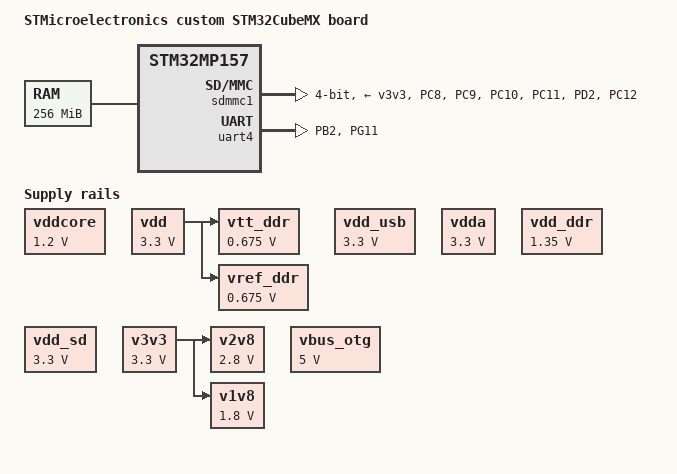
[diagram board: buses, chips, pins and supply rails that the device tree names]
/* SPDX-License-Identifier: (GPL-2.0+ OR BSD-3-Clause) */
/*
 * Copyright (C) STMicroelectronics 2020 - All Rights Reserved
 * Author: STM32CubeMX code generation for STMicroelectronics.
 */

/* For more information on Device Tree configuration, please refer to
 * https://wiki.st.com/stm32mpu/wiki/Category:Device_tree_configuration
 */

/dts-v1/;
#include <dt-bindings/pinctrl/stm32-pinfunc.h>

#include "stm32mp157.dtsi"
#include "stm32mp15xa.dtsi"

//Added from a-ev1
//#include "stm32mp15-pinctrl.dtsi"
//#include "stm32mp15xx-dkx.dtsi"
//

#include "stm32mp15xxac-pinctrl.dtsi"
#include "stm32mp157-m4-srm.dtsi"



/* USER CODE BEGIN includes */
/* USER CODE END includes */

/ {
	model = "STMicroelectronics custom STM32CubeMX board";
	compatible = "st,stm32mp157a-ugeast-mx", "st,stm32mp157";

	aliases {
		ethernet0 = &ethernet0;
		serial0 = &uart4;
		serial1 = &uart8;
		serial2 = &usart3;
		serial3 = &uart7;
		serial4 = &usart1;
	};

	chosen {
		stdout-path = "serial0:115200n8";
	};


	memory@c0000000 {
		device_type = "memory";
		reg = <0xc0000000 0x10000000>;

		/* USER CODE BEGIN memory */
		/* USER CODE END memory */
	};

	reserved-memory {
		#address-cells = <1>;
		#size-cells = <1>;
		ranges;

		/* USER CODE BEGIN reserved-memory */

		/* USER CODE END reserved-memory */
	};

	/* USER CODE BEGIN root */

	vddcore: regulator-vddcore {
		compatible = "regulator-fixed";
		regulator-name = "vddcore";
		regulator-min-microvolt = <1200000>;
		regulator-max-microvolt = <1200000>;
		regulator-always-on;
	};

	vdd: regulator-vdd {
		compatible = "regulator-fixed";
		regulator-name = "vdd";
		regulator-min-microvolt = <3300000>;
		regulator-max-microvolt = <3300000>;
		regulator-always-on;
	};

	vdd_usb: regulator-vdd_usb {
		compatible = "regulator-fixed";
		regulator-name = "vdd_usb";
		regulator-min-microvolt = <3300000>;
		regulator-max-microvolt = <3300000>;
		regulator-always-on;
	};

	vdda: regulator-vdda {
		compatible = "regulator-fixed";
		regulator-name = "vdda";
		regulator-min-microvolt = <3300000>;
		regulator-max-microvolt = <3300000>;
		regulator-always-on;
	};

	vdd_ddr: regulator-vdd_ddr {
		compatible = "regulator-fixed";
		regulator-name = "vdd_ddr";
		regulator-min-microvolt = <1350000>;
		regulator-max-microvolt = <1350000>;
		regulator-always-on;
	};

	vtt_ddr: regulator-vtt_ddr {
		compatible = "regulator-fixed";
		regulator-name = "vtt_ddr";
		regulator-min-microvolt = <675000>;
		regulator-max-microvolt = <675000>;
		regulator-always-on;
		vin-supply = <&vdd>;
	};

	vref_ddr: regulator-vref_ddr {
		compatible = "regulator-fixed";
		regulator-name = "vref_ddr";
		regulator-min-microvolt = <675000>;
		regulator-max-microvolt = <675000>;
		regulator-always-on;
		vin-supply = <&vdd>;
	};

	vdd_sd: regulator-vdd_sd {
		compatible = "regulator-fixed";
		regulator-name = "vdd_sd";
		regulator-min-microvolt = <3300000>;
		regulator-max-microvolt = <3300000>;
		regulator-always-on;
	};

	v3v3: regulator-v3v3 {
		compatible = "regulator-fixed";
		regulator-name = "v3v3";
		regulator-min-microvolt = <3300000>;
		regulator-max-microvolt = <3300000>;
		regulator-always-on;
	};

	v2v8: regulator-v2v8 {
		compatible = "regulator-fixed";
		regulator-name = "v2v8";
		regulator-min-microvolt = <2800000>;
		regulator-max-microvolt = <2800000>;
		regulator-always-on;
		vin-supply = <&v3v3>;
	};

	v1v8: regulator-v1v8 {
		compatible = "regulator-fixed";
		regulator-name = "v1v8";
		regulator-min-microvolt = <1800000>;
		regulator-max-microvolt = <1800000>;
		regulator-always-on;
		vin-supply = <&v3v3>;
	};

	vbus_otg: regulator-vbus_otg {
		compatible = "regulator-fixed";
		regulator-name = "vbus_otg";
		regulator-min-microvolt = <5000000>;
		regulator-max-microvolt = <5000000>;
		regulator-always-on;
	};
	/* USER CODE BEGIN root */



	v3v3: regulator-v3v3 {
		compatible = "regulator-fixed";
		regulator-name = "v3v3";
		regulator-min-microvolt = <3300000>;
		regulator-max-microvolt = <3300000>;
		regulator-always-on;
	};


	/* USER CODE END root */

	clocks {

		/* USER CODE BEGIN clocks */
		/* USER CODE END clocks */

#ifndef CONFIG_STM32MP1_TRUSTED
		clk_lsi: clk-lsi {
			clock-frequency = <32000>;
		};
		clk_hsi: clk-hsi {
			clock-frequency = <64000000>;
		};
		clk_csi: clk-csi {
			clock-frequency = <4000000>;
		};
		clk_lse: clk-lse {
			clock-frequency = <32768>;
		};
		clk_hse: clk-hse {
			clock-frequency = <24000000>;
		};
#endif	/*CONFIG_STM32MP1_TRUSTED*/
	};

}; /*root*/

&pinctrl {
	u-boot,dm-pre-reloc;





	sdmmc1_pins_mx: sdmmc1_mx-0 {
		u-boot,dm-pre-reloc;
		pins1 {
			u-boot,dm-pre-reloc;
			pinmux = <STM32_PINMUX('C', 8, AF12)>, /* SDMMC1_D0 */
					 <STM32_PINMUX('C', 9, AF12)>, /* SDMMC1_D1 */
					 <STM32_PINMUX('C', 10, AF12)>, /* SDMMC1_D2 */
					 <STM32_PINMUX('C', 11, AF12)>, /* SDMMC1_D3 */
					 <STM32_PINMUX('D', 2, AF12)>; /* SDMMC1_CMD */
			bias-disable;
			drive-push-pull;
			slew-rate = <1>;
		};
		pins2 {
			u-boot,dm-pre-reloc;
			pinmux = <STM32_PINMUX('C', 12, AF12)>; /* SDMMC1_CK */
			bias-disable;
			drive-push-pull;
			slew-rate = <3>;
		};
	};

	sdmmc1_opendrain_pins_mx: sdmmc1_opendrain_mx-0 {
		u-boot,dm-pre-reloc;
		pins1 {
			u-boot,dm-pre-reloc;
			pinmux = <STM32_PINMUX('C', 8, AF12)>, /* SDMMC1_D0 */
					 <STM32_PINMUX('C', 9, AF12)>, /* SDMMC1_D1 */
					 <STM32_PINMUX('C', 10, AF12)>, /* SDMMC1_D2 */
					 <STM32_PINMUX('C', 11, AF12)>; /* SDMMC1_D3 */
			bias-disable;
			drive-push-pull;
			slew-rate = <1>;
		};
		pins2 {
			u-boot,dm-pre-reloc;
			pinmux = <STM32_PINMUX('C', 12, AF12)>; /* SDMMC1_CK */
			bias-disable;
			drive-push-pull;
			slew-rate = <3>;
		};
		pins3 {
			u-boot,dm-pre-reloc;
			pinmux = <STM32_PINMUX('D', 2, AF12)>; /* SDMMC1_CMD */
			bias-disable;
			drive-open-drain;
			slew-rate = <1>;
		};
	};

	sdmmc1_sleep_pins_mx: sdmmc1_sleep_mx-0 {
		u-boot,dm-pre-reloc;
		pins {
			u-boot,dm-pre-reloc;
			pinmux = <STM32_PINMUX('C', 8, ANALOG)>, /* SDMMC1_D0 */
					 <STM32_PINMUX('C', 9, ANALOG)>, /* SDMMC1_D1 */
					 <STM32_PINMUX('C', 10, ANALOG)>, /* SDMMC1_D2 */
					 <STM32_PINMUX('C', 11, ANALOG)>, /* SDMMC1_D3 */
					 <STM32_PINMUX('C', 12, ANALOG)>, /* SDMMC1_CK */
					 <STM32_PINMUX('D', 2, ANALOG)>; /* SDMMC1_CMD */
		};
	};

	uart4_pins_mx: uart4_mx-0 {
		u-boot,dm-pre-reloc;
		pins1 {
			u-boot,dm-pre-reloc;
			pinmux = <STM32_PINMUX('B', 2, AF8)>; /* UART4_RX */
			bias-disable;
		};
		pins2 {
			u-boot,dm-pre-reloc;
			pinmux = <STM32_PINMUX('G', 11, AF6)>; /* UART4_TX */
			bias-disable;
			drive-push-pull;
			slew-rate = <0>;
		};
	};

	uart4_sleep_pins_mx: uart4_sleep_mx-0 {
		u-boot,dm-pre-reloc;
		pins {
			u-boot,dm-pre-reloc;
			pinmux = <STM32_PINMUX('B', 2, ANALOG)>, /* UART4_RX */
					 <STM32_PINMUX('G', 11, ANALOG)>; /* UART4_TX */
		};
	};


};



&sdmmc1{
	u-boot,dm-pre-reloc;
//	pinctrl-names = "default", "opendrain", "sleep";
	pinctrl-names = "default", "opendrain";
	pinctrl-0 = <&sdmmc1_pins_mx>;
	pinctrl-1 = <&sdmmc1_opendrain_pins_mx>;
//	pinctrl-2 = <&sdmmc1_sleep_pins_mx>;
	status = "okay";

	/* USER CODE BEGIN sdmmc1 */
	broken-cd;
	disable-wp;
	st,neg-edge;
	bus-width = <4>;
	max-frequency = <10000000>;
	vmmc-supply = <&v3v3>;
	/* USER CODE END sdmmc1 */
};

&uart4{
	u-boot,dm-pre-reloc;
	pinctrl-names = "default", "sleep";
	pinctrl-0 = <&uart4_pins_mx>;
	pinctrl-1 = <&uart4_sleep_pins_mx>;
	status = "okay";

	/* USER CODE BEGIN uart4 */
	/* USER CODE END uart4 */
};
